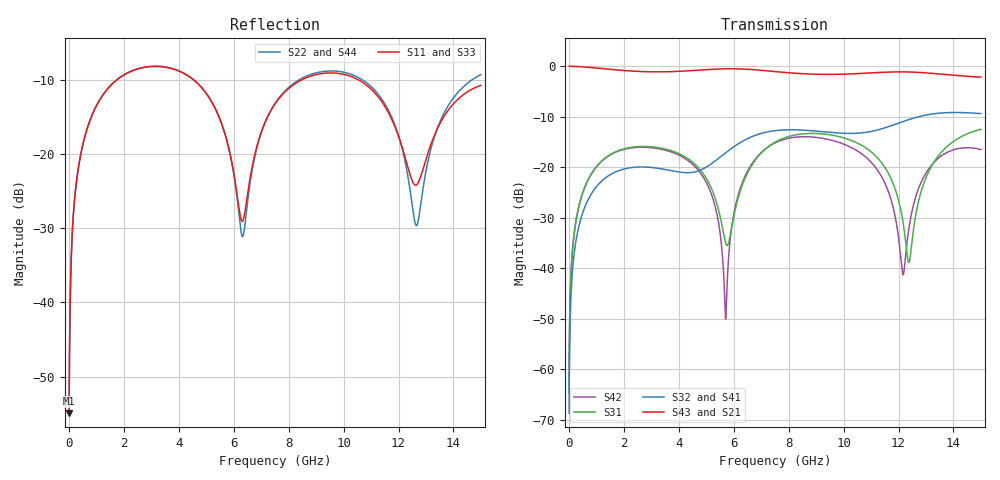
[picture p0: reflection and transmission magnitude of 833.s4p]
! Created with skrf 1.8.0 (http://scikit-rf.org).
# GHz S RI R 50.0
!freq ReS11 ImS11 ReS12 ImS12 ReS13 ImS13
! ReS14 ImS14
! ReS21 ImS21 ReS22 ImS22 ReS23 ImS23
! ReS24 ImS24
! ReS31 ImS31 ReS32 ImS32 ReS33 ImS33
! ReS34 ImS34
! ReS41 ImS41 ReS42 ImS42 ReS43 ImS43
! ReS44 ImS44
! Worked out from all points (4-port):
!   2499 points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, 5 MHz to 15 GHz, reference 50 ohm
!   strongest paths, dB at 5 MHz, 3.476 GHz, 7.19 GHz, 11.1 GHz, 15 GHz:
!     S43: 0.0, -1.1, -0.9, -1.3, -2.2
!     S21: 0.0, -1.1, -0.9, -1.3, -2.2
!     S32: -68.7, -20.4, -13.1, -12.8, -9.4
!     S41: -68.7, -20.5, -13.1, -12.9, -9.5
!     S31: -64.7, -16.4, -16.2, -17.4, -12.5
!     S42: -64.7, -16.6, -16.2, -19.6, -16.5
!   lowest |S11| = -55.0 dB at 5 MHz (marker M1), VSWR 1.00, Z = 50.1 + j0.108 ohm
!   |S11| at or under -10 dB: start of sweep to 1.728 GHz; 4.55 GHz to 8.448 GHz (3.898 GHz wide, 60 % of centre); 10.56 GHz to end of sweep
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0.005  0.00142 0.00108  0.9986 -0.00277  7.13e-05 0.000576  -6.91e-05 -0.000359
       0.9986 -0.00277  0.00142 0.00108  -6.91e-05 -0.000359  7.12e-05 0.000576
       7.13e-05 0.000576  -6.91e-05 -0.000359  0.00142 0.00108  0.9986 -0.00277
       -6.91e-05 -0.000359  7.12e-05 0.000576  0.9986 -0.00277  0.00142 0.00108
0.3626511  0.0236 0.0821  0.9674 -0.1995  0.0114 0.0396  -0.00933 -0.0244
           0.9674 -0.1995  0.0237 0.0821  -0.00934 -0.0244  0.0111 0.0397
           0.0114 0.0396  -0.00934 -0.0244  0.0236 0.0821  0.9674 -0.1995
           -0.00933 -0.0244  0.0111 0.0397  0.9674 -0.1995  0.0237 0.0821
1.619545  0.2388 0.1879  0.6124 -0.6901  0.1206 0.0682  -0.0859 -0.0165
          0.6124 -0.6901  0.2401 0.1871  -0.0861 -0.0164  0.1163 0.0731
          0.1206 0.0682  -0.0861 -0.0164  0.2387 0.1879  0.6124 -0.6901
          -0.0859 -0.0165  0.1163 0.0731  0.6124 -0.6901  0.2401 0.187
5.702376  0.0687 -0.1134  -0.8693 -0.3583  -0.0157 -0.00867  -0.0497 0.1292
          -0.8693 -0.3583  0.0622 -0.1185  -0.0473 0.1301  -0.00295 -0.00102
          -0.0157 -0.00867  -0.0473 0.1301  0.0686 -0.1126  -0.8695 -0.358
          -0.0497 0.1292  -0.00295 -0.00102  -0.8695 -0.358  0.0617 -0.118
9.847853  0.348 -0.0428  0.0179 0.8315  0.1649 -0.1133  0.2013 -0.0747
          0.0179 0.8315  0.3577 -0.0561  0.2015 -0.0816  0.1636 -0.0623
          0.1649 -0.1133  0.2015 -0.0816  0.35 -0.0401  0.0178 0.8302
          0.2013 -0.0747  0.1636 -0.0623  0.0178 0.8302  0.3622 -0.0586
12.37391  0.066 -0.0413  0.8349 0.2628  -0.0106 0.00403  0.0867 -0.2823
          0.8349 0.2628  0.0396 -0.052  0.0756 -0.2855  -0.00807 0.0229
          -0.0106 0.00403  0.0756 -0.2855  0.0692 -0.0441  0.8342 0.2639
          0.0867 -0.2823  -0.00807 0.0229  0.8342 0.2639  0.0392 -0.0558
15  0.2769 0.0925  0.4373 -0.6443  0.2126 -0.1036  -0.3052 -0.1401
    0.4373 -0.6443  0.3201 0.1289  -0.3136 -0.1284  0.1472 0.0251
    0.2126 -0.1036  -0.3136 -0.1284  0.2748 0.098  0.4362 -0.6436
    -0.3052 -0.1401  0.1472 0.0251  0.4362 -0.6436  0.3271 0.1277
